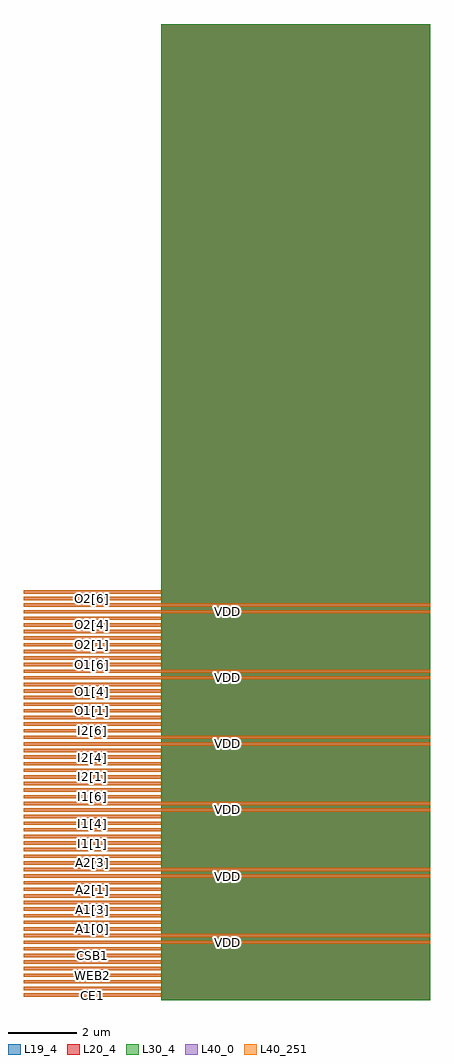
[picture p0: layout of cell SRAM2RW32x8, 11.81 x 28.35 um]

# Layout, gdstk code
import gdstk
lib = gdstk.Library(unit=1e-6, precision=1e-09)
def R(c, l, rs):  # rectangles x0, y0, x1, y1
    for r in rs: c.add(gdstk.rectangle(r[:2], r[2:], *l))
def A(c, l, x, y, w, h, nx, ny, dx, dy):  # array of equal rectangles
    R(c, l, [(x+i*dx, y+j*dy, x+i*dx+w, y+j*dy+h) for i in range(nx) for j in range(ny)])
L19_4 = (19, 4)
L20_4 = (20, 4)
L30_4 = (30, 4)
L40_0 = (40, 0)
L40_251 = (40, 251)

sram2rw32x8 = lib.new_cell('SRAM2RW32x8')
R(sram2rw32x8, L19_4, [(4,0,11.808,28.352)])
R(sram2rw32x8, L20_4, [(4,0,11.808,28.352)])
R(sram2rw32x8, L30_4, [(4,0,11.808,28.352)])
A(sram2rw32x8, L40_0, 0, 0.096, 4, 0.096, 1, 8, 0, 0.192)
A(sram2rw32x8, L40_0, 0, 2.016, 4, 0.096, 1, 8, 0, 0.192)
A(sram2rw32x8, L40_0, 0, 3.936, 4, 0.096, 1, 8, 0, 0.192)
A(sram2rw32x8, L40_0, 0, 5.856, 4, 0.096, 1, 8, 0, 0.192)
A(sram2rw32x8, L40_0, 0, 7.776, 4, 0.096, 1, 8, 0, 0.192)
A(sram2rw32x8, L40_0, 0, 9.696, 4, 0.096, 1, 8, 0, 0.192)
R(sram2rw32x8, L40_0, [(0,1.632,11.808,1.728), (0,1.824,11.808,1.92), (0,3.552,11.808,3.648), (0,3.744,11.808,3.84), (0,5.472,11.808,5.568), (0,5.664,11.808,5.76), (0,7.392,11.808,7.488), (0,7.584,11.808,7.68), (0,9.312,11.808,9.408), (0,9.504,11.808,9.6), (0,11.232,11.808,11.328), (0,11.424,11.808,11.52), (0,11.616,4,11.712), (0,11.808,4,11.904)])
A(sram2rw32x8, L40_251, 0, 0.096, 4, 0.096, 1, 8, 0, 0.192)
A(sram2rw32x8, L40_251, 0, 2.016, 4, 0.096, 1, 8, 0, 0.192)
A(sram2rw32x8, L40_251, 0, 3.936, 4, 0.096, 1, 8, 0, 0.192)
A(sram2rw32x8, L40_251, 0, 5.856, 4, 0.096, 1, 8, 0, 0.192)
A(sram2rw32x8, L40_251, 0, 7.776, 4, 0.096, 1, 8, 0, 0.192)
A(sram2rw32x8, L40_251, 0, 9.696, 4, 0.096, 1, 8, 0, 0.192)
R(sram2rw32x8, L40_251, [(0,1.632,11.808,1.728), (0,1.824,11.808,1.92), (0,3.552,11.808,3.648), (0,3.744,11.808,3.84), (0,5.472,11.808,5.568), (0,5.664,11.808,5.76), (0,7.392,11.808,7.488), (0,7.584,11.808,7.68), (0,9.312,11.808,9.408), (0,9.504,11.808,9.6), (0,11.232,11.808,11.328), (0,11.424,11.808,11.52), (0,11.616,4,11.712), (0,11.808,4,11.904)])
sram2rw32x8.add(gdstk.Label('CE1', (2,0.144), layer=40, texttype=0))
sram2rw32x8.add(gdstk.Label('CE2', (2,0.336), layer=40, texttype=0))
sram2rw32x8.add(gdstk.Label('WEB1', (2,0.528), layer=40, texttype=0))
sram2rw32x8.add(gdstk.Label('WEB2', (2,0.72), layer=40, texttype=0))
sram2rw32x8.add(gdstk.Label('OEB1', (2,0.912), layer=40, texttype=0))
sram2rw32x8.add(gdstk.Label('OEB2', (2,1.104), layer=40, texttype=0))
sram2rw32x8.add(gdstk.Label('CSB1', (2,1.296), layer=40, texttype=0))
sram2rw32x8.add(gdstk.Label('CSB2', (2,1.488), layer=40, texttype=0))
sram2rw32x8.add(gdstk.Label('A1[0]', (2,2.064), layer=40, texttype=0))
sram2rw32x8.add(gdstk.Label('A1[1]', (2,2.256), layer=40, texttype=0))
sram2rw32x8.add(gdstk.Label('A1[2]', (2,2.448), layer=40, texttype=0))
sram2rw32x8.add(gdstk.Label('A1[3]', (2,2.64), layer=40, texttype=0))
sram2rw32x8.add(gdstk.Label('A1[4]', (2,2.832), layer=40, texttype=0))
sram2rw32x8.add(gdstk.Label('A2[0]', (2,3.024), layer=40, texttype=0))
sram2rw32x8.add(gdstk.Label('A2[1]', (2,3.216), layer=40, texttype=0))
sram2rw32x8.add(gdstk.Label('A2[2]', (2,3.408), layer=40, texttype=0))
sram2rw32x8.add(gdstk.Label('A2[3]', (2,3.984), layer=40, texttype=0))
sram2rw32x8.add(gdstk.Label('A2[4]', (2,4.176), layer=40, texttype=0))
sram2rw32x8.add(gdstk.Label('I1[0]', (2,4.368), layer=40, texttype=0))
sram2rw32x8.add(gdstk.Label('I1[1]', (2,4.56), layer=40, texttype=0))
sram2rw32x8.add(gdstk.Label('I1[2]', (2,4.752), layer=40, texttype=0))
sram2rw32x8.add(gdstk.Label('I1[3]', (2,4.944), layer=40, texttype=0))
sram2rw32x8.add(gdstk.Label('I1[4]', (2,5.136), layer=40, texttype=0))
sram2rw32x8.add(gdstk.Label('I1[5]', (2,5.328), layer=40, texttype=0))
sram2rw32x8.add(gdstk.Label('I1[6]', (2,5.904), layer=40, texttype=0))
sram2rw32x8.add(gdstk.Label('I1[7]', (2,6.096), layer=40, texttype=0))
sram2rw32x8.add(gdstk.Label('I2[0]', (2,6.288), layer=40, texttype=0))
sram2rw32x8.add(gdstk.Label('I2[1]', (2,6.48), layer=40, texttype=0))
sram2rw32x8.add(gdstk.Label('I2[2]', (2,6.672), layer=40, texttype=0))
sram2rw32x8.add(gdstk.Label('I2[3]', (2,6.864), layer=40, texttype=0))
sram2rw32x8.add(gdstk.Label('I2[4]', (2,7.056), layer=40, texttype=0))
sram2rw32x8.add(gdstk.Label('I2[5]', (2,7.248), layer=40, texttype=0))
sram2rw32x8.add(gdstk.Label('I2[6]', (2,7.824), layer=40, texttype=0))
sram2rw32x8.add(gdstk.Label('I2[7]', (2,8.016), layer=40, texttype=0))
sram2rw32x8.add(gdstk.Label('O1[0]', (2,8.208), layer=40, texttype=0))
sram2rw32x8.add(gdstk.Label('O1[1]', (2,8.4), layer=40, texttype=0))
sram2rw32x8.add(gdstk.Label('O1[2]', (2,8.592), layer=40, texttype=0))
sram2rw32x8.add(gdstk.Label('O1[3]', (2,8.784), layer=40, texttype=0))
sram2rw32x8.add(gdstk.Label('O1[4]', (2,8.976), layer=40, texttype=0))
sram2rw32x8.add(gdstk.Label('O1[5]', (2,9.168), layer=40, texttype=0))
sram2rw32x8.add(gdstk.Label('O1[6]', (2,9.744), layer=40, texttype=0))
sram2rw32x8.add(gdstk.Label('O1[7]', (2,9.936), layer=40, texttype=0))
sram2rw32x8.add(gdstk.Label('O2[0]', (2,10.128), layer=40, texttype=0))
sram2rw32x8.add(gdstk.Label('O2[1]', (2,10.32), layer=40, texttype=0))
sram2rw32x8.add(gdstk.Label('O2[2]', (2,10.512), layer=40, texttype=0))
sram2rw32x8.add(gdstk.Label('O2[3]', (2,10.704), layer=40, texttype=0))
sram2rw32x8.add(gdstk.Label('O2[4]', (2,10.896), layer=40, texttype=0))
sram2rw32x8.add(gdstk.Label('O2[5]', (2,11.088), layer=40, texttype=0))
sram2rw32x8.add(gdstk.Label('O2[6]', (2,11.664), layer=40, texttype=0))
sram2rw32x8.add(gdstk.Label('O2[7]', (2,11.856), layer=40, texttype=0))
sram2rw32x8.add(gdstk.Label('VDD', (5.904,1.68), layer=40, texttype=0))
sram2rw32x8.add(gdstk.Label('VDD', (5.904,3.6), layer=40, texttype=0))
sram2rw32x8.add(gdstk.Label('VDD', (5.904,5.52), layer=40, texttype=0))
sram2rw32x8.add(gdstk.Label('VDD', (5.904,7.44), layer=40, texttype=0))
sram2rw32x8.add(gdstk.Label('VDD', (5.904,9.36), layer=40, texttype=0))
sram2rw32x8.add(gdstk.Label('VDD', (5.904,11.28), layer=40, texttype=0))
sram2rw32x8.add(gdstk.Label('VSS', (5.904,1.872), layer=40, texttype=0))
sram2rw32x8.add(gdstk.Label('VSS', (5.904,3.792), layer=40, texttype=0))
sram2rw32x8.add(gdstk.Label('VSS', (5.904,5.712), layer=40, texttype=0))
sram2rw32x8.add(gdstk.Label('VSS', (5.904,7.632), layer=40, texttype=0))
sram2rw32x8.add(gdstk.Label('VSS', (5.904,9.552), layer=40, texttype=0))
sram2rw32x8.add(gdstk.Label('VSS', (5.904,11.472), layer=40, texttype=0))

lib.write_gds('SRAM2RW32x8.gds')
